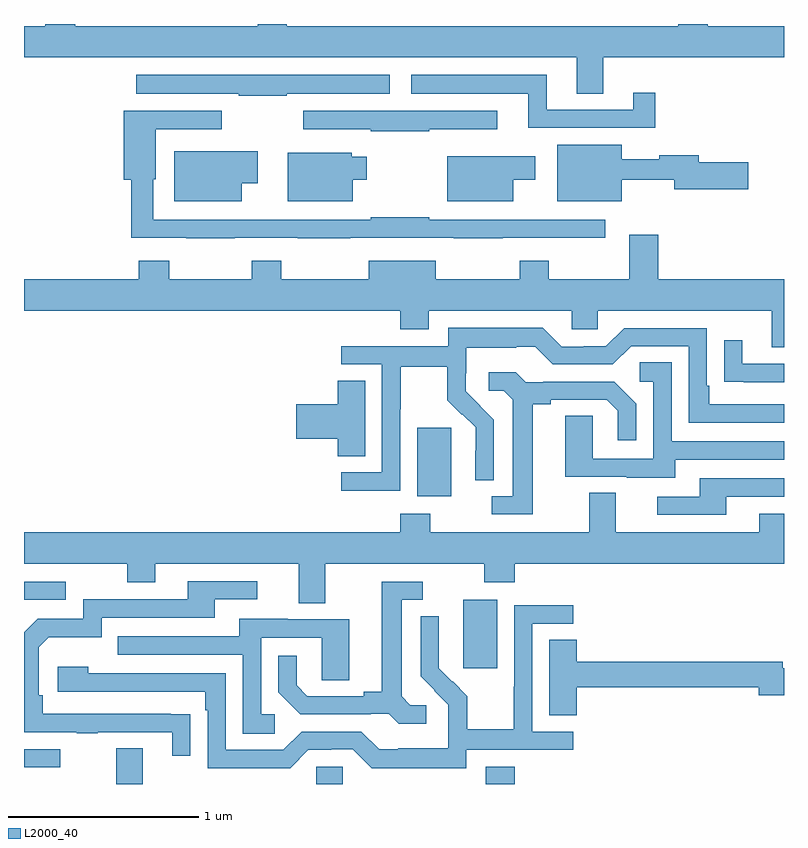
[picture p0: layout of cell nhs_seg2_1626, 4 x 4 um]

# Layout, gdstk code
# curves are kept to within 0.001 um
import gdstk
lib = gdstk.Library(unit=1e-6, precision=1e-09)
def R(c, l, rs):  # rectangles x0, y0, x1, y1
    for r in rs: c.add(gdstk.rectangle(r[:2], r[2:], *l))
def P(c, l, *ps):  # polygons
    for p in ps: c.add(gdstk.Polygon(p, *l))
L2000_40 = (2000, 40)

nhs_seg2_1626 = lib.new_cell('nhs_seg2_1626')
R(nhs_seg2_1626, L2000_40, [(195.485,655.8,195.625,655.987), (196.539,655.8,196.677,655.89), (197.429,655.8,197.582,655.891), (195,655.887,195.19,655.983), (197.312,656.409,197.491,656.77), (195,656.769,195.22,656.865), (197.069,657.314,197.248,657.675)])
P(nhs_seg2_1626, L2000_40, [(198.049,659.624),(199,659.624),(199,659.788),(198.599,659.788),(198.599,659.8),(198.443,659.8),(198.443,659.788),(196.382,659.788),(196.382,659.8),(196.229,659.8),(196.229,659.788),(195.269,659.788),(195.269,659.8),(195.113,659.8),(195.113,659.788),(195,659.788),(195,659.624),(197.909,659.624),(197.909,659.434),(198.049,659.434)],
  [(196.382,659.432),(196.924,659.432),(196.924,659.533),(195.591,659.533),(195.591,659.432),(196.129,659.432),(196.129,659.422),(196.382,659.422)],
  [(198.323,659.437),(198.206,659.437),(198.206,659.349),(197.752,659.349),(197.752,659.533),(197.037,659.533),(197.037,659.432),(197.654,659.432),(197.654,659.253),(198.323,659.253)],
  [(196.109,658.674),(196.441,658.674),(196.441,658.673),(196.718,658.673),(196.718,658.674),(197.263,658.674),(197.263,658.673),(197.519,658.673),(197.519,658.674),(198.058,658.674),(198.058,658.77),(197.132,658.77),(197.132,658.783),(196.825,658.783),(196.825,658.77),(195.681,658.77),(195.681,658.983),(195.694,658.983),(195.694,659.247),(196.042,659.247),(196.042,659.343),(195.524,659.343),(195.524,658.979),(195.565,658.979),(195.565,658.674),(195.853,658.674),(195.853,658.673),(196.109,658.673)],
  [(197.132,659.246),(197.491,659.246),(197.491,659.343),(196.47,659.343),(196.47,659.247),(196.825,659.247),(196.825,659.235),(197.132,659.235)],
  [(198.145,658.98),(198.422,658.98),(198.422,658.93),(198.811,658.93),(198.811,659.072),(198.55,659.072),(198.55,659.108),(198.344,659.108),(198.344,659.089),(198.145,659.089),(198.145,659.164),(197.807,659.164),(197.807,658.868),(198.145,658.868)],
  [(196.147,658.961),(196.231,658.961),(196.231,659.131),(195.791,659.131),(195.791,658.868),(196.147,658.868)],
  [(196.729,658.979),(196.804,658.979),(196.804,659.101),(196.725,659.101),(196.725,659.122),(196.388,659.122),(196.388,658.868),(196.729,658.868)],
  [(197.575,658.979),(197.692,658.979),(197.692,659.104),(197.228,659.104),(197.228,658.868),(197.575,658.868)],
  [(199,658.456),(198.338,658.456),(198.338,658.69),(198.185,658.69),(198.185,658.456),(197.763,658.456),(197.763,658.555),(197.608,658.555),(197.608,658.456),(197.167,658.456),(197.167,658.555),(196.814,658.555),(196.814,658.456),(196.353,658.456),(196.353,658.555),(196.198,658.555),(196.198,658.456),(195.765,658.456),(195.765,658.555),(195.605,658.555),(195.605,658.456),(195,658.456),(195,658.292),(196.979,658.292),(196.979,658.193),(197.131,658.193),(197.131,658.292),(197.883,658.292),(197.883,658.194),(198.021,658.194),(198.021,658.292),(198.935,658.292),(198.935,658.098),(199,658.098)],
  [(196.98,657.772),(196.983,657.772),(196.983,657.996),(197.227,657.996),(197.227,657.821),(197.304,657.744),(197.307,657.747),(197.378,657.677),(197.378,657.554),(197.376,657.554),(197.376,657.4),(197.472,657.4),(197.472,657.718),(197.326,657.866),(197.326,657.963),(197.328,657.963),(197.328,658.097),(197.591,658.097),(197.591,658.101),(197.691,658.101),(197.784,658.008),(198.099,658.008),(198.195,658.104),(198.498,658.104),(198.498,657.702),(199,657.702),(199,657.798),(198.607,657.798),(198.607,657.895),(198.594,657.895),(198.594,658.2),(198.159,658.2),(198.063,658.104),(197.945,658.104),(197.945,658.101),(197.829,658.101),(197.729,658.201),(197.232,658.201),(197.232,658.104),(196.671,658.104),(196.671,658.008),(196.884,658.008),(196.884,657.441),(196.671,657.441),(196.671,657.343),(196.98,657.343)],
  [(199,658.011),(198.781,658.011),(198.781,658.135),(198.685,658.135),(198.685,657.916),(198.787,657.916),(198.787,657.915),(199,657.915)],
  [(198.427,657.507),(199,657.507),(199,657.603),(198.408,657.603),(198.408,658.019),(198.24,658.019),(198.24,657.918),(198.312,657.918),(198.312,657.513),(197.994,657.513),(197.994,657.737),(197.849,657.737),(197.849,657.417),(198.173,657.417),(198.173,657.413),(198.427,657.413)],
  [(197.677,657.8),(197.773,657.8),(197.773,657.822),(198.068,657.822),(198.125,657.765),(198.125,657.609),(198.222,657.609),(198.222,657.802),(198.106,657.918),(197.734,657.918),(197.734,657.915),(197.64,657.915),(197.588,657.967),(197.445,657.967),(197.445,657.87),(197.526,657.87),(197.573,657.823),(197.573,657.315),(197.463,657.315),(197.463,657.219),(197.677,657.219)],
  [(196.795,657.923),(196.652,657.923),(196.652,657.8),(196.434,657.8),(196.434,657.617),(196.652,657.617),(196.652,657.526),(196.795,657.526)],
  [(198.697,657.312),(199,657.312),(199,657.408),(198.557,657.408),(198.557,657.312),(198.333,657.312),(198.333,657.216),(198.697,657.216)],
  [(196.585,656.96),(197.422,656.96),(197.422,656.861),(197.582,656.861),(197.582,656.96),(199,656.96),(199,657.223),(198.869,657.223),(198.869,657.124),(198.115,657.124),(198.115,657.332),(197.975,657.332),(197.975,657.124),(197.139,657.124),(197.139,657.223),(196.979,657.223),(196.979,657.124),(195,657.124),(195,656.96),(195.544,656.96),(195.544,656.861),(195.691,656.861),(195.691,656.96),(196.445,656.96),(196.445,656.752),(196.585,656.752)],
  [(195.875,656.168),(195.098,656.169),(195.098,656.266),(195.078,656.266),(195.078,656.52),(195.131,656.573),(195.408,656.573),(195.408,656.676),(196.003,656.676),(196.003,656.772),(196.228,656.772),(196.228,656.868),(195.863,656.868),(195.863,656.772),(195.312,656.772),(195.312,656.67),(195.072,656.67),(195,656.598),(195,656.073),(195.277,656.073),(195.277,656.068),(195.389,656.068),(195.389,656.073),(195.779,656.073),(195.779,655.95),(195.875,655.95)],
  [(197.116,656.214),(197.034,656.214),(196.987,656.261),(196.987,656.769),(197.098,656.769),(197.098,656.865),(196.883,656.865),(196.883,656.285),(196.787,656.285),(196.787,656.262),(196.492,656.262),(196.435,656.319),(196.435,656.476),(196.338,656.476),(196.338,656.282),(196.454,656.166),(196.826,656.166),(196.826,656.169),(196.92,656.169),(196.972,656.117),(197.116,656.117)],
  [(197.328,655.98),(197.89,655.98),(197.89,656.076),(197.676,656.076),(197.676,656.643),(197.89,656.643),(197.89,656.742),(197.58,656.742),(197.58,656.312),(197.578,656.312),(197.578,656.089),(197.333,656.089),(197.333,656.263),(197.256,656.34),(197.253,656.337),(197.183,656.408),(197.184,656.684),(197.088,656.684),(197.088,656.366),(197.234,656.218),(197.234,656.121),(197.232,656.121),(197.232,655.987),(196.969,655.987),(196.969,655.983),(196.869,655.983),(196.776,656.076),(196.461,656.076),(196.365,655.98),(196.062,655.98),(196.062,656.382),(195.338,656.382),(195.338,656.416),(195.177,656.416),(195.177,656.286),(195.953,656.286),(195.953,656.189),(195.966,656.189),(195.966,655.884),(196.401,655.884),(196.497,655.98),(196.616,655.98),(196.616,655.983),(196.731,655.983),(196.831,655.883),(197.328,655.883)],
  [(196.321,656.166),(196.248,656.166),(196.248,656.571),(196.566,656.571),(196.566,656.347),(196.711,656.347),(196.711,656.667),(196.387,656.667),(196.387,656.671),(196.133,656.671),(196.133,656.577),(195.493,656.577),(195.493,656.481),(196.152,656.481),(196.152,656.065),(196.321,656.065)],
  [(197.909,656.308),(198.866,656.308),(198.866,656.266),(199,656.266),(199,656.408),(198.994,656.408),(198.994,656.444),(197.909,656.444),(197.909,656.558),(197.765,656.558),(197.765,656.161),(197.909,656.161)])

lib.write_gds('nhs_seg2_1626.gds')
